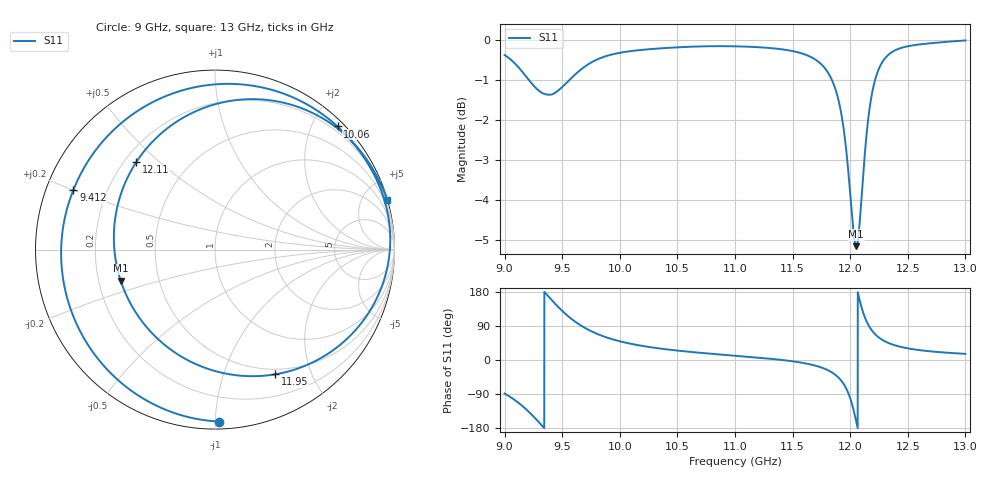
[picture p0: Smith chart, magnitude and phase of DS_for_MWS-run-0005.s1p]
! TOUCHSTONE file generated by CST DESIGN STUDIO
! Date and time: Tue Feb  4 13:55:43 2025
! Project name: C:\Work\MatlabApps\UnitCellOptimizationMatlab\CST\unitcell.cst
! Tree item: Tasks\Sweep1\SPara1\S-Parameters
! Header version: 2024
! Port assignment regex: !\s*Touchstone port\s*([0-9]+)\s*=\s*(CST MWS port|CST DES external port|CST DES block port)\s*(.+)\s* \(\"(.*)\"\)(\s*mode\s*([0-9]+))?.*
! Touchstone port assignment:
! Touchstone port 1 = CST DES external port 1 ("")
# GHz S MA R 50
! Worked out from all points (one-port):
!   4001 points, 9 GHz to 13 GHz, reference 50 ohm
!   lowest |S11| = -5.1 dB at 12.05 GHz (marker M1), VSWR 3.48, Z = 14.7 - j7.33 ohm
!   |S11| at or under -10 dB: nowhere
!   S11 on the Smith chart (normalised r, x): 9 GHz: 0.04, -1.03; 9.412 GHz: 0.08, +0.20; 10.06 GHz: 0.11, +2.40; 11.95 GHz: 0.44, -1.51; 12.11 GHz: 0.25, +0.42; 13 GHz: 0.01, +7.03
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9  0.9583 -88.5
9.1  0.9322 -108.2
9.188  0.9006 -130.4
9.307  0.863 -167.3
9.412  0.856 157.2
9.5  0.8742 129.6
9.584  0.8983 107.6
9.68  0.9236 87.7
9.829  0.9498 65.8
10  0.9647 49.4
10.059  0.9678 45.2
10.5  0.98 24.9
11  0.9829 11.3
11.5  0.9695 -3.4
11.801  0.9143 -26.1
11.882  0.8594 -41.8
11.945  0.7719 -64.1
12  0.6435 -100.7
12.025  0.5835 -126.7
12.052  0.5532 -161.8
12.077  0.5799 164.3
12.105  0.6553 132.1
12.134  0.7414 107.4
12.165  0.8156 88.5
12.261  0.9293 56.6
12.358  0.9657 41.8
12.5  0.9831 30.7
13  0.9996 16.2
